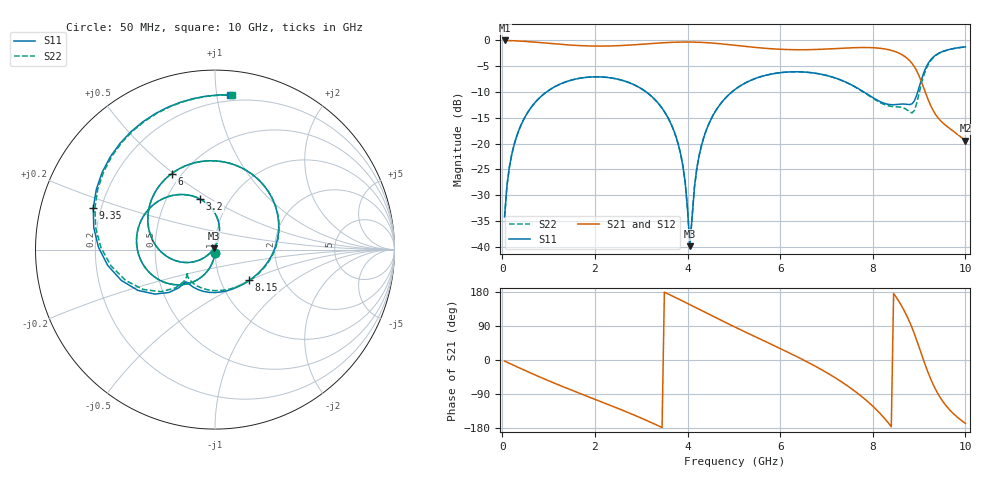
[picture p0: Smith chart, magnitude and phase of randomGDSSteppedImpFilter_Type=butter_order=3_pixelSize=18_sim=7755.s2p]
! freq	dB(S11)	phase(S11)	dB(S12)	phase(S12)
!  dB(S21)	phase(S21)	dB(S22)	phase(S22)
!S-par simulation data
#  GHz  S  DB  R 50
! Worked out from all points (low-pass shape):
!   200 points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, 50 MHz to 10 GHz, reference 50 ohm
!   highest |S21| = -0.01 dB at 50 MHz (marker M1); lowest = -19.4 dB at 10 GHz (marker M2)
!   |S21| within 3 dB of the highest: start of sweep to 8.673 GHz
!   lowest |S11| = -39.9 dB at 4.05 GHz (marker M3), VSWR 1.02, Z = 49.3 + j0.7 ohm
!   |S11| at or under -10 dB: start of sweep to 952 MHz; 3.11 GHz to 4.955 GHz (1.845 GHz wide, 45.8 % of centre); 7.809 GHz to 8.969 GHz (1.16 GHz wide, 13.8 % of centre)
!   |S22| runs from -39.6 to -1.2 dB; largest |S21 - S12| = 0
!   S11 on the Smith chart (normalised r, x): 50 MHz: 1.00, -0.04; 3.2 GHz: 0.73, +0.45; 6 GHz: 0.44, +0.49; 8.15 GHz: 1.37, -0.50; 9.35 GHz: 0.17, +0.16; 10 GHz: 0.16, +1.09
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0.05  -34.17 -92.7  -0.01 -2.9  -0.01 -2.9  -34.17 -92.7
0.2  -22.27 -101.7  -0.04 -11.4  -0.04 -11.4  -22.27 -101.7
0.5  -14.68 -118.6  -0.19 -28.1  -0.19 -28.1  -14.68 -118.6
1.75  -7.22 177.8  -1.03 -91.7  -1.03 -91.7  -7.22 177.8
3.2  -10.65 106.4  -0.62 -164.1  -0.62 -164.1  -10.65 106.4
3.4  -12.53 95.7  -0.50 -175.3  -0.50 -175.3  -12.53 95.8
3.85  -21.96 73.6  -0.32 158.3  -0.32 158.3  -21.96 73.8
4.05  -39.85 135.7  -0.31 146.1  -0.31 146.1  -39.63 135.8
4.2  -24.84 -142.5  -0.34 136.9  -0.34 136.9  -24.83 -142.8
4.35  -18.81 -147.2  -0.40 127.7  -0.40 127.7  -18.81 -147.4
5.05  -9.34 173.8  -0.97 85.4  -0.97 85.4  -9.34 173.7
6  -6.25 119.8  -1.71 30.3  -1.71 30.3  -6.25 119.7
6.7  -6.28 77.8  -1.77 -12.5  -1.77 -12.5  -6.28 77.5
7.6  -8.89 12.2  -1.41 -81.1  -1.41 -81.1  -8.93 10.5
8.15  -11.82 -42.0  -1.51 -140.1  -1.51 -140.1  -11.99 -47.5
8.35  -12.40 -67.7  -1.81 -168.2  -1.81 -168.2  -12.69 -75.8
8.6  -12.34 -105.6  -2.61 147.4  -2.61 147.4  -12.93 -116.7
8.8  -12.42 -130.3  -3.95 99.1  -3.95 99.1  -13.88 -141.0
9  -9.09 -137.1  -6.88 34.0  -6.88 34.0  -10.23 -136.0
9.35  -2.89 161.2  -14.26 -76.1  -14.26 -76.1  -2.99 160.8
9.65  -1.75 119.5  -16.98 -130.2  -16.98 -130.2  -1.77 118.7
10  -1.24 84.4  -19.44 -167.2  -19.44 -167.2  -1.25 83.7
